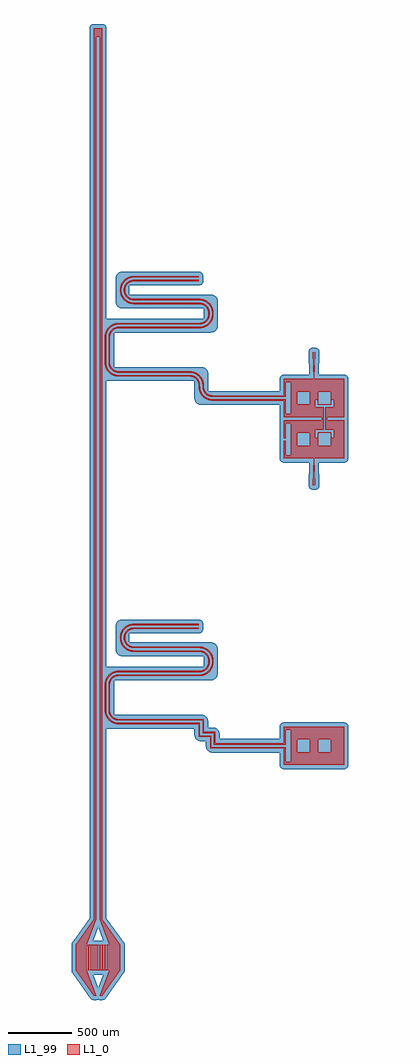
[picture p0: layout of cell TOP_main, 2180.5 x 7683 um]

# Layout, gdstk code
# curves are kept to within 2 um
import gdstk
lib = gdstk.Library(unit=1e-6, precision=1e-09)
def R(c, l, rs):  # rectangles x0, y0, x1, y1
    for r in rs: c.add(gdstk.rectangle(r[:2], r[2:], *l))
def P(c, l, *ps):  # polygons
    for p in ps: c.add(gdstk.Polygon(p, *l))
L1_0 = (1, 0)
L1_99 = (1, 99)

top_main_1 = lib.new_cell('TOP_main_1')
R(top_main_1, L1_0, [(809.894,-1693,859.641,-1683), (859.641,-1663,897.843,-1653), (203.761,-1593,241.932,-1583), (203.761,-1563,241.932,-1553), (241.932,-1563,809.894,-1553), (203.761,-1213,241.932,-1203), (203.761,-1183,241.932,-1173), (1732.67,723.5,1775,799.5), (1790,723.5,1836.437,799.5), (1760,799.5,1775,824.5), (1790,799.5,1805,824.5), (1723.5,824.5,1775,900.5), (1790,824.5,1832.282,900.5), (212.065,1144.5,257.096,1154.5), (212.065,1174.5,257.096,1184.5), (212.065,1524.5,257.096,1534.5), (257.096,1524.5,786.705,1534.5), (212.065,1554.5,257.096,1564.5), (257.096,1554.5,786.705,1564.5), (786.705,1894.5,793,1904.5), (786.705,1924.5,793,1934.5)])
P(top_main_1, L1_0, [(87.5,-3520),(82.5,-3520),(82.5,-3330),(67.5,-3330),(67.5,-3520),(62.5,-3520),(62.5,-3330),(47.5,-3330),(47.5,-3520),(42.5,-3520),(42.5,-3330),(27.5,-3330),(27.5,-3520),(22.5,-3520),(22.5,-3330),(7.5,-3330),(7.5,-3520),(2.5,-3520),(2.5,-3330),(-12.5,-3330),(-12.5,-3520),(-17.5,-3520),(-17.5,-3330),(-32.5,-3330),(-32.5,-3520),(-37.5,-3520),(-37.5,-3330),(-52.5,-3330),(-52.5,-3520),(-57.5,-3520),(-57.5,-3330),(-72.5,-3330),(-72.5,-3520),(-77.5,-3520),(-77.5,-3330),(-87.5,-3330),(-15,-3130),(-32.5,-3130),(-175,-3330),(-175,-3530),(-32.5,-3730),(-15,-3730),(-87.5,-3530),(-87.5,-3340),(-82.5,-3340),(-82.5,-3530),(-67.5,-3530),(-67.5,-3340),(-62.5,-3340),(-62.5,-3530),(-47.5,-3530),(-47.5,-3340),(-42.5,-3340),(-42.5,-3530),(-27.5,-3530),(-27.5,-3340),(-22.5,-3340),(-22.5,-3530),(-7.5,-3530),(-7.5,-3340),(-2.5,-3340),(-2.5,-3530),(12.5,-3530),(12.5,-3340),(17.5,-3340),(17.5,-3530),(32.5,-3530),(32.5,-3340),(37.5,-3340),(37.5,-3530),(52.5,-3530),(52.5,-3340),(57.5,-3340),(57.5,-3530),(72.5,-3530),(72.5,-3340),(77.5,-3340),(77.5,-3530),(87.5,-3530),(15,-3730),(32.5,-3730),(175,-3530),(175,-3330),(32.5,-3130),(32.5,3820),(15,3820),(15,-3130),(87.5,-3330)],
  [(1709,1336.5),(1704,1336.5),(1701,1124.5),(1702,1124.5)],
  [(1631,1109),(1632.5,1107.5),(1697.5,1107.5),(1698.962,1108.666),(1696,1336.5),(1691,1336.5),(1698,1124.5),(1631,1124.5)],
  [(1701,1109),(1702.5,1107.5),(1767.834,1107.538),(1769,1124.5),(1701,1124.5)],
  [(1769,515),(1767.5,516.5),(1702.166,516.462),(1701,499.5),(1769,499.5)],
  [(1699,499.5),(1698,499.5),(1691,287.5),(1696,287.5)],
  [(1702,499.5),(1701,499.5),(1704,287.5),(1709,287.5)],
  [(1699,515),(1697.5,516.5),(1632.166,516.462),(1631,499.5),(1699,499.5)],
  [(32.5,3885),(-32.5,3885),(-32.5,-3130),(-15,-3130),(-15,3820),(32.5,3820)],
  [(97.881,1178.619),(83.099,1194.368),(71.722,1213.656),(64.921,1234.991),(63,1254.5),(63.629,1465.696),(67.722,1484.868),(74.155,1500.398),(84.817,1516.849),(97.881,1530.381),(97.881,1543.142),(79.162,1525.712),(64.454,1503.374),(56.251,1481.047),(53,1454.5),(53,1254.5),(54.449,1236.704),(61.953,1211.033),(75.43,1187.931),(85.218,1176.718),(97.881,1165.858)],
  [(97.881,1228.82),(94.464,1240.258),(93,1254.5),(93.041,1456.89),(94.464,1468.742),(97.881,1480.18),(97.881,1500.956),(91.719,1490.819),(86.915,1479.221),(83.985,1467.015),(83,1454.5),(83.158,1249.477),(87.73,1227.401),(97.881,1208.044)],
  [(98.483,1530.904),(109.797,1539.172),(122.156,1545.778),(135.316,1550.592),(150.485,1553.704),(150.485,1563.779),(125.067,1557.753),(103.758,1547.184),(97.881,1543.142)],
  [(98.795,1482.388),(107.224,1496.797),(118.824,1508.8),(132.936,1517.715),(150.485,1523.364),(150.485,1533.515),(138.279,1530.585),(126.681,1525.781),(115.977,1519.221),(106.431,1511.069),(97.881,1500.956),(97.881,1480.18)],
  [(150.485,1185.636),(132.936,1191.285),(118.824,1200.2),(105.812,1214.132),(97.881,1228.82),(97.881,1208.044),(112.006,1192.859),(128.938,1182.114),(148.009,1175.917),(150.485,1175.485)],
  [(150.485,1155.296),(135.316,1158.408),(122.156,1163.222),(109.797,1169.828),(97.881,1178.619),(97.881,1165.858),(119.533,1153.453),(133.572,1148.51),(150.485,1145.221)],
  [(212.065,1753.789),(199.629,1768.943),(190.388,1786.232),(184.697,1804.991),(182.776,1824.5),(184.189,1841.251),(188.388,1857.528),(198.104,1877.703),(212.065,1895.211),(212.065,1908.753),(195.206,1891.069),(182.943,1870.688),(175.348,1848.147),(172.776,1824.5),(176.027,1797.953),(180.589,1783.785),(187.021,1770.362),(198.938,1753.288),(212.065,1740.247)],
  [(212.065,1861.895),(205.289,1844.395),(203.407,1834.527),(202.776,1824.5),(203.407,1814.473),(205.289,1804.605),(212.065,1787.105)],
  [(154.595,1554.146),(212.065,1554.5),(212.065,1564.5),(150.485,1563.779),(150.485,1553.704)],
  [(153.468,1523.848),(212.065,1524.5),(212.065,1534.5),(150.485,1533.515),(150.485,1523.364)],
  [(212.065,1184.5),(160.61,1184.541),(150.485,1185.636),(150.485,1175.485),(212.065,1174.5)],
  [(212.065,1154.5),(150.485,1155.296),(150.485,1145.221),(212.065,1144.5)],
  [(214.076,1897.166),(234.404,1912.022),(257.096,1921.139),(257.096,1931.452),(233.902,1923.046),(213.86,1910.235),(212.065,1908.753),(212.065,1895.211)],
  [(257.096,1759.381),(248.468,1763.484),(238.6,1770.2),(231.617,1776.721),(224.243,1786.108),(218.571,1796.612),(215.372,1805.614),(212.776,1824.5),(214.766,1841.074),(221.76,1858.808),(228.476,1868.676),(236.772,1877.26),(246.405,1884.309),(257.096,1889.619),(257.096,1900.256),(244.236,1894.605),(231.782,1886.141),(221.135,1875.494),(212.065,1861.895),(212.065,1787.105),(218.055,1777.477),(224.459,1769.736),(239.91,1756.954),(257.096,1748.744)],
  [(257.096,1727.861),(244.508,1732.112),(231.968,1738.369),(212.065,1753.789),(212.065,1740.247),(228.638,1728.745),(242.061,1722.313),(257.096,1717.548)],
  [(257.798,1921.33),(282.776,1924.5),(786.705,1924.5),(786.705,1934.5),(279.797,1934.46),(257.096,1931.452)],
  [(259.334,1890.458),(270.882,1893.482),(282.776,1894.5),(786.705,1894.5),(786.705,1904.5),(280.263,1904.461),(257.096,1900.256),(257.096,1889.619)],
  [(786.705,1754.5),(282.776,1754.5),(268.534,1755.964),(257.096,1759.381),(257.096,1748.744),(270.261,1745.485),(282.776,1744.5),(786.705,1744.5)],
  [(786.705,1724.5),(282.776,1724.5),(257.096,1727.861),(257.096,1717.548),(282.776,1714.5),(786.705,1714.5)],
  [(786.705,1163.818),(774.025,1171.686),(757.623,1178.742),(740.296,1183.051),(725.479,1184.46),(257.096,1184.5),(257.096,1174.5),(728.107,1174.343),(742.009,1172.579),(758.162,1167.925),(773.308,1160.631),(786.705,1151.16)],
  [(786.705,1122.211),(775.405,1134.509),(761.04,1144.605),(744.819,1151.323),(727.523,1154.342),(257.096,1154.5),(257.096,1144.5),(729.658,1144.133),(745.942,1140.458),(762.868,1131.688),(776.8,1118.676),(786.705,1102.388)],
  [(818.255,1752.613),(803.955,1754.339),(786.705,1754.5),(786.705,1744.5),(803.607,1744.343),(818.255,1742.419)],
  [(818.255,1721.888),(805.529,1724.145),(786.705,1724.5),(786.705,1714.5),(805.158,1714.133),(818.255,1711.495)],
  [(798,1554.5),(818.255,1557.112),(818.255,1567.505),(805.158,1564.867),(786.705,1564.5),(786.705,1554.5)],
  [(798,1524.5),(818.255,1526.387),(818.255,1536.581),(803.607,1534.657),(786.705,1534.5),(786.705,1524.5)],
  [(818.255,1128.638),(804.379,1147.957),(786.705,1163.818),(786.705,1151.16),(797.064,1141.135),(805.647,1130.057),(812.597,1117.888),(818.255,1103.292)],
  [(818.255,1010.637),(810.112,1026.232),(805.007,1042.248),(802.854,1056.095),(802.145,1082.029),(799.323,1096.819),(793.781,1110.819),(786.705,1122.211),(786.705,1102.388),(791.848,1084.032),(793.145,1052.607),(796.51,1035.072),(805.314,1012.975),(818.255,993.78)],
  [(846.372,1743.287),(833.123,1748.742),(818.255,1752.613),(818.255,1742.419),(833.662,1737.925),(846.372,1732.022)],
  [(846.372,1708.208),(832.062,1716.886),(818.255,1721.888),(818.255,1711.495),(832.308,1705.516),(846.372,1695.085)],
  [(820.319,1557.677),(834.319,1563.219),(846.372,1570.792),(846.372,1583.915),(832.308,1573.484),(818.255,1567.505),(818.255,1557.112)],
  [(818.729,1526.471),(833.123,1530.258),(846.372,1535.713),(846.372,1546.978),(833.662,1541.075),(818.255,1536.581)],
  [(846.372,1022.684),(839.285,1034.436),(835.096,1045.614),(832.867,1057.342),(832.339,1080.455),(830.529,1095.229),(825.753,1112.433),(818.255,1128.638),(818.255,1103.292),(821.871,1085.696),(822.658,1059.477),(825.013,1044.605),(832.395,1025.96),(845.931,1007.931)],
  [(846.372,981.746),(831.789,993.789),(818.255,1010.637),(818.255,993.78),(822.64,988.853),(833.584,978.765),(846.372,969.906)],
  [(873.647,1724.36),(859.731,1735.546),(846.372,1743.287),(846.372,1732.022),(860.349,1722.683),(873.647,1709.888)],
  [(847.033,1571.288),(862.721,1587.477),(869.281,1598.181),(873.647,1608.501),(873.647,1670.499),(869.281,1680.819),(862.721,1691.523),(854.569,1701.069),(846.372,1708.208),(846.372,1695.085),(855.188,1684.868),(862.205,1672.388),(866.536,1658.742),(868,1644.5),(867.633,1627.342),(865.404,1615.614),(857.809,1598.129),(846.372,1583.915)],
  [(846.874,1535.954),(859.731,1543.454),(873.647,1554.64),(873.647,1569.112),(860.349,1556.317),(846.372,1546.978)],
  [(873.647,1000.734),(858.324,1010.2),(846.372,1022.684),(846.372,1007.505),(851.506,1002.859),(861.777,995.641),(873.647,989.892)],
  [(873.647,968.763),(859.112,974.403),(846.372,981.746),(846.372,969.906),(856.312,964.667),(873.647,958.358)],
  [(875.782,1556.718),(890.684,1575.258),(901.253,1596.567),(906.993,1619.65),(908,1644.5),(905.428,1668.147),(899.047,1687.967),(889.046,1706.231),(873.647,1724.36),(873.647,1709.888),(885.522,1692.872),(893.278,1674.868),(896.587,1661.251),(898,1644.5),(897.646,1626.095),(894.83,1609.522),(886.845,1588.602),(873.647,1569.112),(873.647,1554.64)],
  [(874.085,1609.779),(876.073,1617.049),(877.369,1624.473),(877.961,1631.987),(878,1644.5),(877.015,1657.015),(873.647,1670.499),(873.647,1608.501)],
  [(1462.745,1121.045),(1462.5,994.5),(902.5,994.5),(888.258,995.964),(873.647,1000.734),(873.647,989.892),(887.509,985.917),(902.5,984.5),(1462.745,984.5)],
  [(1462.745,964.5),(902.5,964.5),(888.521,965.482),(873.647,968.763),(873.647,958.358),(887.65,955.507),(902.5,954.5),(1462.5,954.5),(1462.745,827.955)],
  [(1517.493,854.238),(1512.762,849.507),(1481.977,849.527),(1478.045,852.23),(1477.5,964.5),(1462.745,964.5),(1463.455,826.561),(1567.932,824.5),(1567.932,1124.5),(1466.46,1124.391),(1462.745,1121.045),(1462.745,984.5),(1477.5,984.5),(1478.045,1096.77),(1481.977,1099.473),(1512.762,1099.493),(1517.391,1095.54)],
  [(1728.509,925.238),(1733.238,920.509),(1832.282,920.563),(1832.282,928.045),(1827.762,924.507),(1737.5,924.5),(1732.5,929.5),(1734.154,1023.216),(1827.5,1024.5),(1832.282,1020.955),(1832.282,1124.5),(1771,1124.5),(1770.957,1108.452),(1768.582,1105.671),(1723.5,1105.5),(1723.5,960.5),(1728.438,956.282)],
  [(95.596,-1556.857),(81.444,-1540.867),(71.722,-1523.844),(64.921,-1502.509),(63,-1483),(63.629,-1271.804),(67.722,-1252.632),(74.155,-1237.102),(83.099,-1222.868),(95.596,-1209.143),(95.596,-1196.083),(77.265,-1214.084),(64.454,-1234.126),(56.251,-1256.453),(53,-1283),(53,-1483),(54.449,-1500.796),(60.813,-1523.715),(73.659,-1547.173),(83.14,-1558.647),(95.596,-1569.917)],
  [(95.596,-1501.886),(93,-1483),(93,-1283),(95.596,-1264.114),(95.596,-1239.918),(86.177,-1260.681),(83,-1283),(83.158,-1488.023),(86.915,-1507.721),(95.596,-1526.082)],
  [(96.365,-1208.436),(117.102,-1194.155),(129.972,-1188.612),(141.824,-1185.277),(141.824,-1175.063),(119.533,-1181.953),(98.827,-1193.659),(95.596,-1196.083)],
  [(96.28,-1261.824),(103.191,-1246.629),(113.503,-1233.503),(126.629,-1223.191),(141.824,-1216.28),(141.824,-1205.864),(131.228,-1209.58),(120.134,-1215.454),(110.095,-1222.991),(101.359,-1232.006),(95.596,-1239.918)],
  [(141.824,-1549.72),(124.608,-1541.533),(111.841,-1530.779),(101.984,-1517.308),(95.596,-1501.886),(95.596,-1526.082),(104.683,-1537.764),(120.134,-1550.546),(138.279,-1559.085),(141.824,-1560.136)],
  [(141.824,-1580.723),(129.972,-1577.388),(117.102,-1571.845),(105.133,-1564.556),(95.596,-1556.857),(95.596,-1569.917),(111.475,-1580.186),(125.067,-1586.253),(141.824,-1590.937)],
  [(203.761,-974.275),(195.254,-961.372),(188.388,-946.028),(184.189,-929.751),(182.776,-913),(184.189,-896.249),(188.388,-879.972),(195.254,-864.628),(203.761,-851.725),(203.761,-836.485),(190.092,-853.758),(180.589,-872.285),(174.747,-892.271),(172.776,-913),(176.027,-939.547),(184.23,-961.874),(193.435,-977.173),(203.761,-989.515)],
  [(203.761,-900.485),(203.407,-902.973),(203.131,-905.471),(202.934,-907.977),(202.815,-910.487),(202.776,-913),(202.815,-915.513),(202.934,-918.023),(203.131,-920.529),(203.407,-923.027),(203.761,-925.515)],
  [(146.249,-1184.413),(160.195,-1183.039),(203.761,-1183),(203.761,-1173),(160.021,-1173.04),(142.271,-1174.971),(141.824,-1185.277)],
  [(146.426,-1214.99),(160.61,-1213.041),(203.761,-1213),(203.761,-1203),(160.487,-1203.039),(145.549,-1204.927),(141.824,-1205.864),(141.824,-1216.28)],
  [(203.761,-1553),(158.223,-1552.837),(141.824,-1549.72),(141.824,-1560.136),(160.487,-1562.961),(203.761,-1563)],
  [(203.761,-1583),(160.195,-1582.961),(141.824,-1580.723),(141.824,-1590.937),(160.021,-1592.96),(203.761,-1593)],
  [(204.593,-850.651),(221.135,-834.268),(241.932,-821.722),(241.932,-810.866),(221.045,-821.954),(203.761,-836.485),(203.761,-851.725)],
  [(241.932,-969.839),(230.016,-959.004),(220.624,-945.205),(214.766,-929.574),(212.776,-913),(214.24,-898.758),(218.571,-885.112),(228.476,-868.824),(241.932,-856.161),(241.932,-844.215),(228.012,-854.683),(216.61,-868.033),(208.394,-883.55),(203.761,-900.485),(204.193,-927.991),(207.506,-940.099),(212.671,-951.54),(224.459,-967.764),(239.91,-980.546),(241.932,-981.785)],
  [(241.932,-1004.278),(231.968,-999.131),(220.427,-991.183),(203.761,-974.275),(203.761,-989.515),(213.86,-998.735),(226.065,-1007.254),(241.932,-1015.134)],
  [(244.508,-820.612),(263.267,-814.921),(282.776,-813),(793,-813),(793,-803),(279.797,-803.04),(259.129,-805.572),(241.932,-810.866),(241.932,-821.722)],
  [(242.408,-855.812),(261.6,-846.28),(280.386,-843.041),(793,-843),(793,-833),(280.263,-833.039),(260.457,-836.177),(242.053,-844.141)],
  [(809.894,-983.645),(280.386,-982.959),(259.334,-978.958),(241.932,-969.839),(242.053,-981.859),(260.457,-989.823),(280.263,-992.961),(809.894,-993.717)],
  [(809.894,-1013.897),(279.971,-1012.961),(260.524,-1010.493),(241.932,-1004.278),(241.932,-1015.134),(259.129,-1020.428),(279.797,-1022.96),(798,-1023),(809.894,-1024.018)],
  [(798,-1183),(809.894,-1182.103),(809.894,-1171.982),(798,-1173),(241.932,-1173),(241.932,-1183)],
  [(798,-1213),(809.894,-1212.355),(809.894,-1202.283),(241.932,-1203),(241.932,-1213)],
  [(809.894,-1683),(802.5,-1683),(802.5,-1583),(241.932,-1583),(241.932,-1593),(792.5,-1593),(792.5,-1693),(809.894,-1693)],
  [(859.641,-1001.895),(835.933,-989.747),(809.894,-983.645),(809.894,-993.717),(822.978,-996.17),(836.268,-1000.612),(848.808,-1006.869),(859.641,-1014.268)],
  [(859.641,-1042.006),(848.994,-1031.359),(836.54,-1022.895),(822.721,-1016.915),(809.894,-1013.897),(809.894,-1024.018),(825.888,-1028.795),(838.368,-1035.812),(850.76,-1046.996),(859.641,-1059.849)],
  [(810.515,-1182.015),(822.721,-1179.085),(834.319,-1174.281),(852.764,-1161.317),(859.641,-1153.994),(859.641,-1136.151),(850.76,-1149.004),(838.368,-1160.188),(825.888,-1167.205),(809.894,-1171.982)],
  [(812.85,-1211.993),(835.933,-1206.253),(857.242,-1195.684),(859.641,-1194.105),(859.641,-1181.732),(848.808,-1189.131),(836.268,-1195.388),(822.978,-1199.83),(809.894,-1202.283),(809.894,-1212.355)],
  [(859.641,-1653),(832.5,-1653),(832.5,-1553),(809.894,-1553),(809.894,-1563),(822.5,-1563),(822.5,-1663),(859.641,-1663)],
  [(897.843,-1046.833),(890.684,-1033.758),(881.838,-1021.788),(871.457,-1011.121),(859.641,-1001.895),(859.641,-1014.268),(876.183,-1030.651),(884.131,-1042.192),(889.278,-1052.156),(895.493,-1070.748),(897.843,-1087.393)],
  [(861.212,-1152.033),(869.281,-1139.319),(874.823,-1125.319),(877.645,-1110.529),(878,-1093),(876.583,-1078.009),(873.27,-1065.901),(868.105,-1054.46),(859.641,-1042.006),(859.641,-1059.849),(866.01,-1076.426),(868,-1093),(866.536,-1117.242),(859.641,-1136.151),(859.641,-1153.994)],
  [(859.731,-1194.046),(871.457,-1184.879),(881.838,-1174.212),(890.684,-1162.242),(897.843,-1149.167),(897.843,-1108.607),(895.493,-1125.252),(889.278,-1143.844),(884.131,-1153.808),(876.183,-1165.349),(859.641,-1181.732)],
  [(897.843,-1773),(892.5,-1773),(892.5,-1683),(859.641,-1683),(859.641,-1693),(882.5,-1693),(882.5,-1783),(897.843,-1783)],
  [(899.047,-1146.467),(903.155,-1135.287),(906.551,-1120.796),(908,-1093),(905.428,-1069.353),(897.843,-1046.833),(897.843,-1149.167)],
  [(1477.5,-1643),(1478.784,-1639.654),(1481.977,-1638.027),(1514.045,-1638.245),(1514.045,-1613),(1467.238,-1613.007),(1463.045,-1615.73),(1462.5,-1743),(922.5,-1743),(922.5,-1653),(897.843,-1653),(897.843,-1663),(912.5,-1663),(912.5,-1753),(1477.5,-1753)],
  [(1514.045,-1887.755),(1481.977,-1887.973),(1477.745,-1884.545),(1477.5,-1773),(897.843,-1773),(897.843,-1783),(1462.5,-1783),(1463.045,-1910.27),(1467.238,-1912.993),(1514.045,-1913)],
  [(1732.507,-1717.738),(1732.527,-1613),(1514.045,-1613),(1514.045,-1638.245),(1517.5,-1643),(1517.5,-1808),(1567.5,-1808),(1567.5,-1718),(1570,-1713.67),(1662.762,-1713.007),(1667.5,-1718),(1667.5,-1808),(1665,-1812.33),(1572.238,-1812.993),(1567.5,-1808),(1517.5,-1808),(1517.493,-1883.262),(1514.045,-1887.755),(1514.045,-1913),(1732.527,-1913)],
  [(1732.609,-1716.96),(1737.238,-1713.007),(1830.846,-1714.284),(1832.5,-1808),(1827.5,-1813),(1737.238,-1812.993),(1732.527,-1808.523),(1732.527,-1913),(1936.036,-1911.536),(1936.036,-1614.464),(1732.527,-1613)],
  [(1477.5,769.5),(1481.977,774.473),(1515.846,773.216),(1515.846,799.5),(1467.238,799.493),(1462.932,796.534),(1462.5,659.5),(1477.5,659.5)],
  [(1515.846,525.784),(1482.238,524.507),(1477.932,527.466),(1477.5,639.5),(1462.5,639.5),(1462.932,502.466),(1467.238,499.507),(1515.846,499.5)],
  [(1517.493,529.238),(1515.846,499.5),(1629,499.5),(1630.911,518.119),(1667.255,518.5),(1667.255,602.955),(1662.762,599.507),(1572.5,599.5),(1567.5,604.5),(1569.154,698.216),(1662.5,699.5),(1667.255,696.045),(1667.255,799.5),(1515.846,799.5)],
  [(1667.473,603.977),(1667.255,518.5),(1732.67,518.5),(1732.67,703.428),(1728.563,699.282),(1727.545,665.561),(1712.718,663.562),(1708.5,668.5),(1708.932,720.534),(1712.977,723.473),(1732.67,723.5),(1732.67,799.5),(1667.255,799.5)],
  [(1732.832,696.292),(1737.5,699.5),(1827.762,699.493),(1831.955,696.77),(1831.83,602),(1827.5,599.5),(1737.5,599.5),(1732.67,603.206),(1732.67,518.5),(1769.089,518.119),(1771,499.5),(1836.437,499.5),(1835.954,700.769),(1831.435,703.5),(1733.238,703.491)],
  [(1932.762,499.507),(1937.5,504.5),(1937.255,796.045),(1932.762,799.493),(1836.437,799.5),(1836.437,723.5),(1852.794,723.33),(1856.5,718.5),(1855.036,664.964),(1841.238,663.507),(1837.045,666.23),(1836.437,699.282),(1836.437,499.5)],
  [(1723.5,900.5),(1712.206,900.67),(1708.609,904.46),(1709.614,958.647),(1667.5,958.647),(1667.473,928.977),(1663.54,924.609),(1572.238,924.507),(1567.932,927.466),(1567.932,824.5),(1723.5,824.5)],
  [(1709.784,958.846),(1723.5,960.5),(1723.5,1105.5),(1631.952,1105.543),(1629.043,1108.452),(1629,1124.5),(1567.932,1124.5),(1567.932,1021.534),(1572.5,1024.5),(1664.534,1024.068),(1667.493,1019.762),(1667.5,958.647)],
  [(1832.539,920.611),(1835.214,922.155),(1836.471,924.978),(1836.5,955.5),(1832.5,955.5)],
  [(1932.762,824.507),(1937.493,829.238),(1937.5,955.5),(1856.5,955.5),(1856.068,903.466),(1852.023,900.527),(1832.282,900.5),(1832.282,824.5)],
  [(1937.5,1119.5),(1932.762,1124.493),(1832.282,1124.5),(1832.5,955.5),(1841.5,960.5),(1853.045,960.255),(1856.5,955.5),(1937.5,955.5)])

top_main_1_nocheese_99 = lib.new_cell('TOP_main_1_NoCheese_99')
R(top_main_1_nocheese_99, L1_99, [(-66.5,-960.231,66.5,479.272)])
P(top_main_1_nocheese_99, L1_99, [(1933.39,-1946.988),(1956.137,-1939.019),(1969.305,-1920.895),(1430.695,-1920.895),(1443.863,-1939.019),(1466.348,-1946.981)],
  [(-204.575,-3313.228),(-209,-3330),(-209,-3530),(-206.145,-3543.637),(-192.522,-3564),(39.01,-3564),(0,-3671.614),(-39.01,-3564),(-192.522,-3564),(-60.19,-3749.729),(-48.076,-3760.222),(-32.5,-3764),(-11.743,-3763.844),(0,-3760.481),(11.743,-3763.844),(35.731,-3763.846),(55.957,-3754.612),(202.69,-3549.729),(208.279,-3536.966),(207.384,-3319.643),(66.5,-3119.126),(66.5,-1920.895),(-66.5,-1920.895),(-66.5,-3119.126),(-192.522,-3296),(-39.01,-3296),(0,-3188.386),(39.01,-3296),(-192.522,-3296)],
  [(866.5,-1573),(862.99,-1553.892),(851.834,-1536.025),(836.465,-1524.626),(816.129,-1519.137),(127,-1519),(127,-1247),(888,-1247),(907.108,-1243.49),(920.942,-1235.769),(931.938,-1224.365),(939.151,-1210.26),(941.959,-1194.668),(941.863,-999.371),(936.374,-979.035),(920.942,-960.231),(138.776,-960.231),(138.913,-1006.629),(143.563,-1025.191),(157.255,-1043.653),(178.709,-1055.12),(834,-1057),(834,-1139),(66.5,-1139.42),(66.5,-960.231),(-66.5,-960.231),(-66.5,-1592.573),(866.5,-1592.573)],
  [(1960.878,-1591.25),(1947.545,-1582.02),(1933.39,-1579.012),(1467.5,-1579),(1450.829,-1582.744),(1437.93,-1592.573),(1962.07,-1592.573)],
  [(1699.303,253.661),(1715.771,254.181),(1728.238,259.466),(1737.654,269.198),(1742.524,281.833),(1737.141,465.5),(1935.429,465.612),(1950.993,470.165),(1962.24,479.272),(1437.76,479.272),(1449.007,470.165),(1464.571,465.612),(1662.859,465.5),(1657.476,281.833),(1662.346,269.198),(1671.762,259.466),(1684.229,254.181)],
  [(919.365,-959.062),(905.26,-951.849),(888,-949),(246.776,-949),(246.776,-877),(802.87,-875.536),(817.042,-867.042),(825.536,-852.87),(827,-803),(819.282,-781.431),(799.633,-769.653),(189.147,-769.137),(170.585,-773.787),(157.255,-782.347),(145.975,-796.093),(139.528,-814.109),(138.776,-960.231)],
  [(866.5,1164.5),(862.99,1183.608),(851.834,1201.475),(836.465,1212.874),(816.129,1218.363),(127,1218.5),(127,1490.5),(888,1490.5),(907.108,1494.01),(924.975,1505.166),(-66.5,1505.166),(-66.5,1128.731),(866.5,1128.731)],
  [(1969.93,1130.451),(1957.728,1149.24),(1937.46,1158.182),(1737.141,1158.5),(1742.524,1342.167),(1737.654,1354.802),(1725.336,1366.318),(1712.402,1370.329),(1691,1370.5),(1680.929,1368.974),(1669.053,1362.468),(1662.346,1354.802),(1657.476,1342.167),(1662.859,1158.5),(1462.54,1158.182),(1442.073,1149.07),(1429.61,1128.731)],
  [(927.334,1507.525),(937.213,1522.309),(941.863,1540.871),(941.863,1738.129),(938.49,1753.608),(930.769,1767.442),(920.942,1777.269),(907.108,1784.99),(888,1788.5),(246.776,1788.5),(246.776,1860.5),(802.87,1861.964),(817.042,1870.458),(825.536,1884.63),(826.836,1937.833),(817.042,1958.542),(796.333,1968.336),(192.776,1968.5),(173.668,1964.99),(159.834,1957.269),(150.007,1947.442),(139.24,1921.449),(139.24,1727.551),(144.402,1710.535),(155.801,1695.166),(170.585,1685.287),(189.147,1680.637),(834,1680.5),(834,1598.5),(66.5,1598.08),(66.5,3885),(60.77,3903.889),(42.37,3917.536),(-32.5,3919),(-45.511,3916.412),(-60.77,3903.889),(-66.5,3885),(-66.5,1505.166),(924.975,1505.166)],
  [(66.5,-1626.58),(758.5,-1627),(758.964,-1679.949),(766.708,-1701.591),(779.558,-1715.769),(795.24,-1724.151),(848.5,-1727),(849.903,-1775.163),(855.699,-1789.907),(865.525,-1802.334),(878.535,-1811.374),(893.609,-1816.248),(949.301,-1817),(949.301,-1646.093),(938.021,-1632.347),(919.76,-1621.849),(866.5,-1619),(866.5,-1592.573),(-66.5,-1592.573),(-66.5,-1920.895),(66.5,-1920.895)],
  [(1969.855,-1919.202),(1971.488,-1617.11),(1969.218,-1604.859),(1962.07,-1592.573),(1437.93,-1592.573),(1428.632,-1614.81),(1428.5,-1709),(956.5,-1709),(956.036,-1666.051),(949.301,-1646.093),(949.301,-1817),(1428.5,-1817),(1430.695,-1920.895)],
  [(66.5,1110.92),(758.5,1110.5),(759.252,965.609),(769.731,941.558),(790.309,925.287),(812.5,920.5),(1428.5,920.5),(1428.512,828.61),(1430.782,816.359),(1430.782,1128.731),(1428.512,1120.39),(1428.5,1028.5),(866.5,1028.5),(866.5,1128.731),(-66.5,1128.731),(-66.5,479.272),(66.5,479.272)],
  [(1430.782,807.641),(1429.131,801.478),(1428.5,794.5),(1428.5,504.5),(1429.131,497.522),(1430.782,491.359)],
  [(1963.36,480.656),(1969.305,491.605),(1971.5,504.5),(1971.488,795.39),(1967.341,812),(1971.5,829.5),(1970.39,1128.731),(1430.782,1128.731),(1430.782,491.359),(1437.76,479.272)])

top_main = lib.new_cell('TOP_main')
top_main.add(gdstk.Reference(top_main_1, (0,0)))
top_main.add(gdstk.Reference(top_main_1_nocheese_99, (0,0)))

lib.write_gds('TOP_main.gds')
